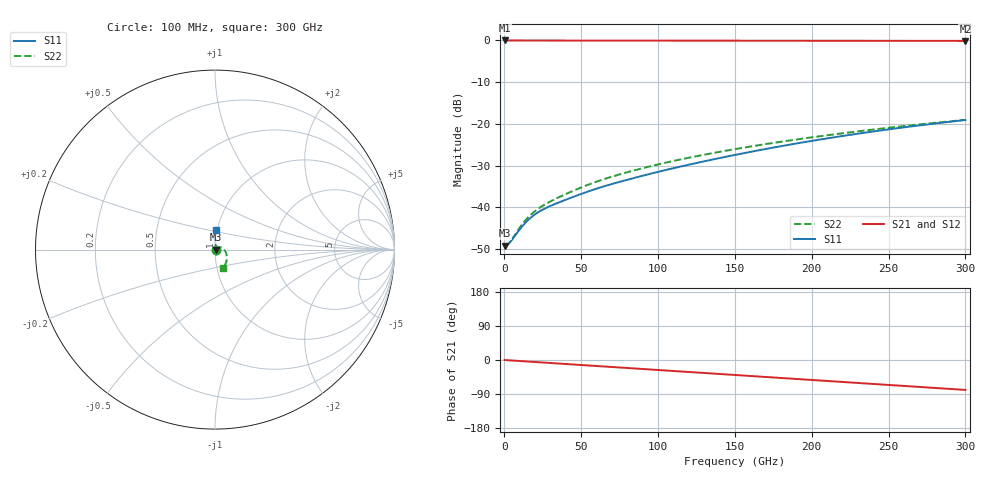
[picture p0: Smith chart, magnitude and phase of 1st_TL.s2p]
#  Hz  S  RI  R  50
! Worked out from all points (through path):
!   3000 points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, 100 MHz to 300 GHz, reference 50 ohm
!   highest |S21| = -0.03 dB at 100 MHz (marker M1); lowest = -0.1 dB at 300 GHz (marker M2)
!   group delay of S21, straight-line fit = 730 fs
!   lowest |S11| = -49.2 dB at 100 MHz (marker M3), VSWR 1.01, Z = 50.3 + j0.00395 ohm
!   |S11| at or under -10 dB: start of sweep to end of sweep
!   |S22| runs from -49.3 to -19.0 dB; largest |S21 - S12| = 0.0011
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1e8  0.00348 3.92e-05  0.9966 -0.000475  0.9966 -0.000474  0.00342 4.03e-05
1.6e9  0.0035 0.000627  0.9966 -0.0076  0.9965 -0.00758  0.00345 0.000644
3e9  0.00353 0.00117  0.9965 -0.0142  0.9964 -0.0142  0.00351 0.0012
5.1e9  0.00363 0.00197  0.9961 -0.0242  0.9961 -0.0241  0.00367 0.00202
9.9e9  0.00399 0.00369  0.9949 -0.0467  0.9949 -0.0467  0.00431 0.00375
1.27e10  0.00425 0.0046  0.9938 -0.0597  0.9939 -0.0596  0.0048 0.00463
1.65e10  0.00463 0.00571  0.9922 -0.0771  0.9922 -0.0771  0.00556 0.00567
2.06e10  0.00501 0.00675  0.9901 -0.0957  0.9902 -0.0957  0.00642 0.00662
2.54e10  0.00533 0.00785  0.9874 -0.1173  0.9874 -0.1174  0.00741 0.00755
3.13e10  0.00554 0.00911  0.9837 -0.1438  0.9837 -0.1438  0.00859 0.00857
5.01e10  0.00538 0.0135  0.9671 -0.2279  0.9672 -0.2279  0.0129 0.0116
6.02e10  0.00519 0.016  0.9551 -0.2722  0.9552 -0.2723  0.0159 0.0128
7.11e10  0.00487 0.0187  0.9401 -0.3193  0.9401 -0.3194  0.0194 0.0135
1.001e11  0.00335 0.0264  0.8888 -0.4407  0.8888 -0.4408  0.0301 0.0127
1.233e11  0.00183 0.0334  0.8366 -0.5322  0.8366 -0.5322  0.0394 0.00883
1.501e11  2.34e-06 0.0425  0.7646 -0.6302  0.7645 -0.6303  0.0498 0.000469
1.757e11  -0.00144 0.0522  0.685 -0.7149  0.6849 -0.7149  0.0582 -0.0114
2.001e11  -0.0022 0.0625  0.6005 -0.7863  0.6001 -0.7862  0.0639 -0.0259
2.252e11  -0.00209 0.0739  0.5056 -0.8493  0.5051 -0.8492  0.0662 -0.0434
2.501e11  -0.000788 0.0859  0.405 -0.9006  0.4045 -0.9002  0.0643 -0.0626
2.744e11  0.00187 0.098  0.3018 -0.9388  0.3011 -0.9384  0.0579 -0.0819
3e11  0.00653 0.1109  0.1886 -0.9665  0.1886 -0.9659  0.0461 -0.1016
